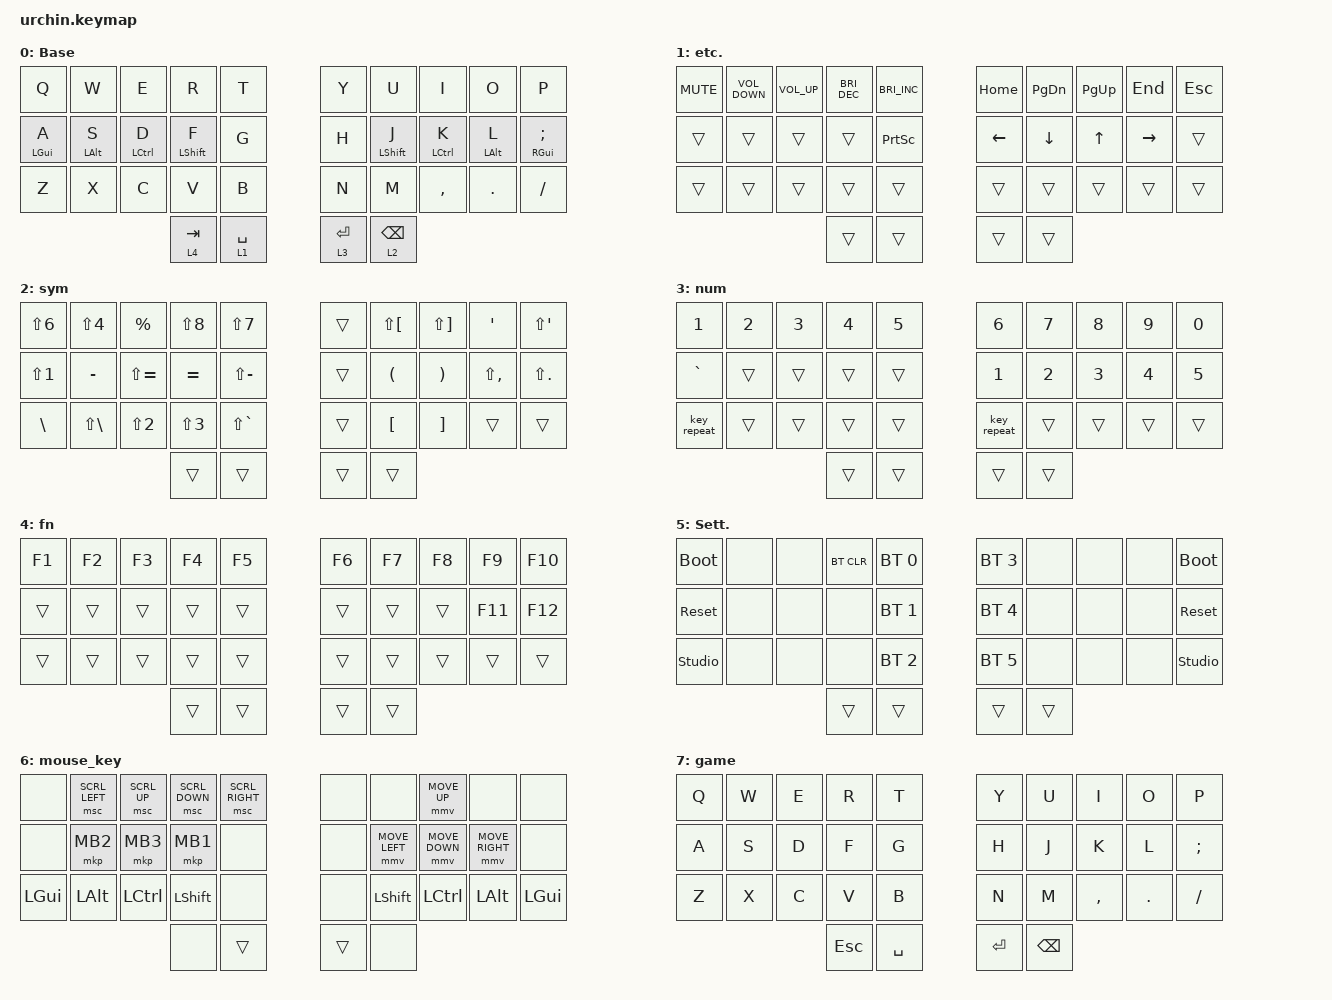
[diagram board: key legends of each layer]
/*
 * Copyright (c) 2020 duckyb
 *
 * SPDX-License-Identifier: MIT
 */

#define ZMK_POINTING_DEFAULT_MOVE_VAL 900  // default: 600
#define ZMK_POINTING_DEFAULT_SCRL_VAL 20    // default: 10

#include <behaviors.dtsi>
#include <dt-bindings/zmk/bt.h>
#include <dt-bindings/zmk/keys.h>
#include <dt-bindings/zmk/pointing.h>

// Layer definitions

#define BASE 0
#define SYM 1
#define EXT 2
#define FNC 3
#define SYM2 4
#define ACCENT 5
#define SETTINGS 6

// -----------------

&mmv {
    time-to-max-speed-ms = <600>;
    acceleration-exponent = <1>;
};

&msc { time-to-max-speed-ms = <250>; };

/ {
    behaviors {
        // Enables holding the first mod-tap key
        // by performing a tap-release-hold sequence.
        // To use it: "&qt KEYCODE1 KEYCODE2"

        hm_left: homerow_mods_left {
            compatible = "zmk,behavior-hold-tap";
            label = "HOMEROW_MODS_LEFT";
            #binding-cells = <2>;
            tapping-term-ms = <200>;
            quick-tap-ms = <200>;
            require-prior-idle-ms = <125>;
            flavor = "balanced";
            bindings = <&kp>, <&kp>;

            hold-trigger-on-release;
            hold-trigger-key-positions = <5 15 25 26 16 6 7 7 8 9 17 18 19 27 28 29>;
        };

        hm_shift_left: hm_shift_left {
            compatible = "zmk,behavior-hold-tap";
            label = "HM_SHIFT_LEFT";
            #binding-cells = <2>;
            tapping-term-ms = <180>;
            quick-tap-ms = <180>;
            require-prior-idle-ms = <0>;
            flavor = "balanced";
            bindings = <&kp>, <&kp>;

            hold-trigger-key-positions = <5 6 7 8 9 15 16 17 18 19 25 26 27 28 29>;
        };

        lt_r: lt_right {
            compatible = "zmk,behavior-hold-tap";
            label = "LT_RIGHT";
            #binding-cells = <2>;
            tapping-term-ms = <200>;
            quick-tap-ms = <170>;
            require-prior-idle-ms = <0>;
            flavor = "balanced";
            bindings = <&mo>, <&kp>;

            hold-trigger-key-positions = <0 4 10 11 12 13 14 20 21 22 23 24 1 2 3 12>;
            hold-trigger-on-release;
        };

        hm_right: hm_right {
            compatible = "zmk,behavior-hold-tap";
            label = "HM_RIGHT";
            #binding-cells = <2>;
            tapping-term-ms = <200>;
            quick-tap-ms = <200>;
            require-prior-idle-ms = <125>;
            flavor = "balanced";
            bindings = <&kp>, <&kp>;

            hold-trigger-on-release;
            hold-trigger-key-positions = <0 4 10 11 12 13 14 21 22 23 24 0 1 2 3 10 11 12 13 20 21 22 23>;
        };

        hm_shift_right: hm_shift_right {
            compatible = "zmk,behavior-hold-tap";
            label = "HM_SHIFT_RIGHT";
            #binding-cells = <2>;
            tapping-term-ms = <180>;
            quick-tap-ms = <180>;
            require-prior-idle-ms = <0>;
            flavor = "balanced";
            bindings = <&kp>, <&kp>;

            hold-trigger-key-positions = <0 1 2 3 4 10 11 12 13 14 20 21 22 23 24>;
        };

        lt_l: lt_l {
            compatible = "zmk,behavior-hold-tap";
            label = "LT_LEFT";
            #binding-cells = <2>;
            tapping-term-ms = <200>;
            quick-tap-ms = <170>;
            require-prior-idle-ms = <0>;
            flavor = "balanced";
            bindings = <&mo>, <&kp>;

            hold-trigger-on-release;
            hold-trigger-key-positions = <5 6 7 8 9 15 16 17 18 19 25 26 27 28 29>;
        };
    };

    macros {
        // sometimes my device thinks a modifier is being held down
        // pressing all modifiers fixes it.
    };

    combos {
        compatible = "zmk,combos";

        // both right thumb keys
        // internal-left & external-right thumb keys
        // both left thumb keys

        combo_settings {
            key-positions = <30 31>;
            bindings = <&mo 5>;
        };

        // left index & middle fingers (home-row)
        // hold control & space for Adobe workflow

        rctrl_combo {
            bindings = <&kp RCTRL>;
            key-positions = <28 29>;
            layers = <0>;
        };

        ralt_combo {
            bindings = <&kp RALT>;
            key-positions = <8 9>;
            layers = <0>;
        };

        esc_combo {
            bindings = <&kp ESC>;
            key-positions = <0 1>;
            layers = <0>;
        };

        del_combo {
            bindings = <&kp DEL>;
            key-positions = <26 27>;
            layers = <0>;
        };

        quote {
            bindings = <&kp SINGLE_QUOTE>;
            key-positions = <18 19>;
            layers = <0>;
        };

        grave {
            bindings = <&kp GRAVE>;
            key-positions = <10 11>;
            layers = <0>;
        };

        capsword {
            bindings = <&caps_word>;
            key-positions = <13 16>;
            layers = <0>;
        };

        mouse_key {
            bindings = <&mo 6>;
            key-positions = <32 31>;
            timeout-ms = <100>;
        };

        game_layer {
            bindings = <&tog 7>;
            key-positions = <20 29>;
            timeout-ms = <50>;
            require-prior-idle-ms = <500>;
            layers = <0 7>;
        };
    };

    keymap {
        compatible = "zmk,keymap";

        // Base alpha layer

        default_layer {
            label = "Base";
            bindings = <
&kp Q            &kp W            &kp E             &kp R                    &kp T          &kp Y          &kp U                     &kp I              &kp O                 &kp P
&hm_left LGUI A  &hm_left LALT S  &hm_left LCTRL D  &hm_shift_left LSHIFT F  &kp G          &kp H          &hm_shift_right LSHIFT J  &hm_right LCTRL K  &hm_right LEFT_ALT L  &hm_right RGUI SEMICOLON
&kp Z            &kp X            &kp C             &kp V                    &kp B          &kp N          &kp M                     &kp COMMA          &kp DOT               &kp SLASH
                                                    &lt_l 4 TAB              &lt_l 1 SPACE  &lt_r 3 ENTER  &lt_r 2 BACKSPACE
            >;
        };

        // Numbers and high frequency symbols

        etc_layer {
            label = "etc.";
            bindings = <
&kp K_MUTE  &kp C_VOLUME_DOWN  &kp C_VOLUME_UP  &kp C_BRIGHTNESS_DEC  &kp C_BRIGHTNESS_INC  &kp HOME  &kp PG_DN  &kp PG_UP  &kp END    &kp ESC
&trans      &trans             &trans           &trans                &kp PRINTSCREEN       &kp LEFT  &kp DOWN   &kp UP     &kp RIGHT  &trans
&trans      &trans             &trans           &trans                &trans                &trans    &trans     &trans     &trans     &trans
                                                &trans                &trans                &trans    &trans
            >;
        };

        // Main modifiers and arrow keys

        sym_layer {
            label = "sym";
            bindings = <
&kp LS(NUMBER_6)  &kp LS(NUMBER_4)   &kp PRCNT         &kp LS(NUMBER_8)  &kp LS(NUMBER_7)  &trans  &kp LS(LEFT_BRACKET)  &kp LS(RIGHT_BRACKET)  &kp SINGLE_QUOTE  &kp LS(SINGLE_QUOTE)
&kp LS(NUMBER_1)  &kp MINUS          &kp LS(EQUAL)     &kp EQUAL         &kp LS(MINUS)     &trans  &kp LEFT_PARENTHESIS  &kp RIGHT_PARENTHESIS  &kp LS(COMMA)     &kp LS(PERIOD)
&kp BACKSLASH     &kp LS(BACKSLASH)  &kp LS(NUMBER_2)  &kp LS(NUMBER_3)  &kp LS(GRAVE)     &trans  &kp LEFT_BRACKET      &kp RIGHT_BRACKET      &trans            &trans
                                                       &trans            &trans            &trans  &trans
            >;
        };

        // Function keys with modifiers

        num_layer {
            label = "num";
            bindings = <
&kp NUMBER_1  &kp NUMBER_2  &kp NUMBER_3  &kp NUMBER_4  &kp NUMBER_5  &kp NUMBER_6  &kp NUMBER_7  &kp NUMBER_8  &kp NUMBER_9  &kp NUMBER_0
&kp GRAVE     &trans        &trans        &trans        &trans        &kp NUMBER_1  &kp NUMBER_2  &kp NUMBER_3  &kp NUMBER_4  &kp NUMBER_5
&key_repeat   &trans        &trans        &trans        &trans        &key_repeat   &trans        &trans        &trans        &trans
                                          &trans        &trans        &trans        &trans
            >;
        };

        // Low frequency symbols.

        fn_layer {
            label = "fn";
            bindings = <
&kp F1  &kp F2  &kp F3  &kp F4  &kp F5  &kp F6  &kp F7  &kp F8  &kp F9   &kp F10
&trans  &trans  &trans  &trans  &trans  &trans  &trans  &trans  &kp F11  &kp F12
&trans  &trans  &trans  &trans  &trans  &trans  &trans  &trans  &trans   &trans
                        &trans  &trans  &trans  &trans
            >;
        };

        // Used to type regional accents.
        // Used to change the keyboard's settings.

        settings_layer {
            label = "Sett.";
            bindings = <
&bootloader     &none  &none  &bt BT_CLR  &bt BT_SEL 0  &bt BT_SEL 3  &none   &none  &none  &bootloader
&sys_reset      &none  &none  &none       &bt BT_SEL 1  &bt BT_SEL 4  &none   &none  &none  &sys_reset
&studio_unlock  &none  &none  &none       &bt BT_SEL 2  &bt BT_SEL 5  &none   &none  &none  &studio_unlock
                              &trans      &trans        &trans        &trans
            >;
        };

        mouse_key {
            bindings = <
&none     &msc SCRL_LEFT  &msc SCRL_UP  &msc SCRL_DOWN  &msc SCRL_RIGHT  &none   &none           &mmv MOVE_UP    &none            &none
&none     &mkp MB2        &mkp MB3      &mkp MB1        &none            &none   &mmv MOVE_LEFT  &mmv MOVE_DOWN  &mmv MOVE_RIGHT  &none
&kp LGUI  &kp LALT        &kp LCTRL     &kp LSHIFT      &none            &none   &kp LSHIFT      &kp LCTRL       &kp LALT         &kp LGUI
                                        &none           &trans           &trans  &none
            >;
        };

        game {
            bindings = <
&kp Q  &kp W  &kp E  &kp R    &kp T      &kp Y      &kp U     &kp I      &kp O    &kp P
&kp A  &kp S  &kp D  &kp F    &kp G      &kp H      &kp J     &kp K      &kp L    &kp SEMI
&kp Z  &kp X  &kp C  &kp V    &kp B      &kp N      &kp M     &kp COMMA  &kp DOT  &kp FSLH
                     &kp ESC  &kp SPACE  &kp ENTER  &kp BSPC
            >;
        };
    };
};
